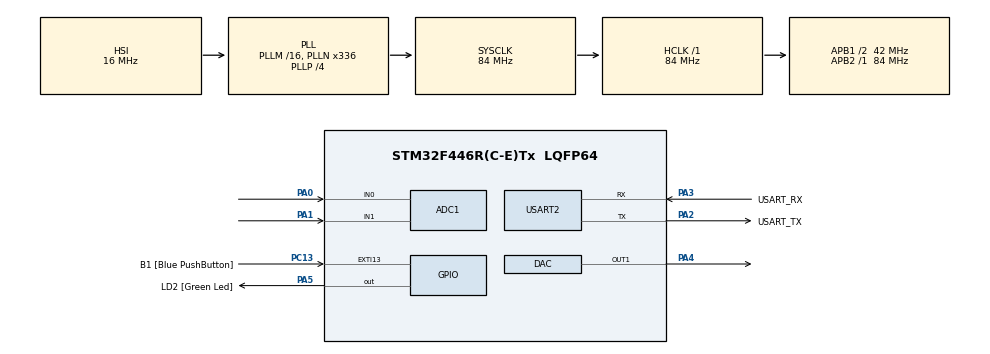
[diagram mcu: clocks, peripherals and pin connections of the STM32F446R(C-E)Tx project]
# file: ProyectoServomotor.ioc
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ADC1.Channel-0\#ChannelRegularConversion=ADC_CHANNEL_0
ADC1.ExternalTrigConv=ADC_EXTERNALTRIGCONV_T2_TRGO
ADC1.NbrOfConversionFlag=1
ADC1.Rank-0\#ChannelRegularConversion=1
ADC1.SamplingTime-0\#ChannelRegularConversion=ADC_SAMPLETIME_3CYCLES
ADC1.master=1
Dma.ADC1.0.Direction=DMA_PERIPH_TO_MEMORY
Dma.ADC1.0.FIFOMode=DMA_FIFOMODE_DISABLE
Dma.ADC1.0.Instance=DMA2_Stream0
Dma.ADC1.0.MemDataAlignment=DMA_MDATAALIGN_HALFWORD
Dma.ADC1.0.MemInc=DMA_MINC_ENABLE
Dma.ADC1.0.Mode=DMA_CIRCULAR
Dma.ADC1.0.PeriphDataAlignment=DMA_PDATAALIGN_HALFWORD
Dma.ADC1.0.PeriphInc=DMA_PINC_DISABLE
Dma.ADC1.0.Priority=DMA_PRIORITY_LOW
Dma.Request0=ADC1
Dma.Request1=USART2_TX
Dma.USART2_TX.1.Direction=DMA_MEMORY_TO_PERIPH
Dma.USART2_TX.1.FIFOMode=DMA_FIFOMODE_DISABLE
Dma.USART2_TX.1.Instance=DMA1_Stream6
Dma.USART2_TX.1.MemDataAlignment=DMA_MDATAALIGN_BYTE
Dma.USART2_TX.1.MemInc=DMA_MINC_ENABLE
Dma.USART2_TX.1.Mode=DMA_NORMAL
Dma.USART2_TX.1.PeriphDataAlignment=DMA_PDATAALIGN_BYTE
Dma.USART2_TX.1.PeriphInc=DMA_PINC_DISABLE
Dma.USART2_TX.1.Priority=DMA_PRIORITY_LOW
Mcu.Family=STM32F4
Mcu.Name=STM32F446R(C-E)Tx
Mcu.Package=LQFP64
NVIC.DMA1_Stream6_IRQn=true\:0\:0\:false\:false\:true\:false\:true\:true
NVIC.DMA2_Stream0_IRQn=true\:0\:0\:false\:false\:true\:false\:true\:true
NVIC.PriorityGroup=NVIC_PRIORITYGROUP_0
PA0-WKUP.Signal=ADCx_IN0
PA1.Signal=ADCx_IN1
PA13.GPIO_Label=TMS
PA13.Mode=Serial_Wire
PA13.Signal=SYS_JTMS-SWDIO
PA14.GPIO_Label=TCK
PA14.Mode=Serial_Wire
PA14.Signal=SYS_JTCK-SWCLK
PA2.GPIO_Label=USART_TX
PA2.Mode=Asynchronous
PA2.Signal=USART2_TX
PA3.GPIO_Label=USART_RX
PA3.Mode=Asynchronous
PA3.Signal=USART2_RX
PA4.Signal=COMP_DAC1_group
PA5.GPIO_Label=LD2 [Green Led]
PA5.Signal=GPIO_Output
PB3.GPIO_Label=SWO
PB3.Signal=SYS_JTDO-SWO
PC13.GPIO_Label=B1 [Blue PushButton]
PC13.GPIO_ModeDefaultEXTI=GPIO_MODE_IT_FALLING
PC13.Signal=GPXTI13
PC14-OSC32_IN.Mode=LSE-External-Oscillator
PC14-OSC32_IN.Signal=RCC_OSC32_IN
PC15-OSC32_OUT.Mode=LSE-External-Oscillator
PC15-OSC32_OUT.Signal=RCC_OSC32_OUT
PH0-OSC_IN.Mode=HSE-External-Oscillator
PH0-OSC_IN.Signal=RCC_OSC_IN
PH1-OSC_OUT.Mode=HSE-External-Oscillator
PH1-OSC_OUT.Signal=RCC_OSC_OUT
ProjectManager.HeapSize=0x200
ProjectManager.StackSize=0x400
ProjectManager.TargetToolchain=STM32CubeIDE
RCC.48MHZClocksFreq_Value=84000000
RCC.AHBFreq_Value=84000000
RCC.APB1CLKDivider=RCC_HCLK_DIV2
RCC.APB1Freq_Value=42000000
RCC.APB1TimFreq_Value=84000000
RCC.APB2Freq_Value=84000000
RCC.APB2TimFreq_Value=84000000
RCC.CortexFreq_Value=84000000
RCC.FLatency-AdvancedSettings=FLASH_LATENCY_2
RCC.HCLKFreq_Value=84000000
RCC.HSE_VALUE=8000000
RCC.HSI_VALUE=16000000
RCC.PLLN=336
RCC.PLLP=RCC_PLLP_DIV4
RCC.SYSCLKFreq_VALUE=84000000
RCC.SYSCLKSource=RCC_SYSCLKSOURCE_PLLCLK
RCC.USBFreq_Value=168000000
RCC.VCOOutputFreq_Value=336000000
SH.ADCx_IN0.0=ADC1_IN0,IN0
SH.ADCx_IN1.0=ADC1_IN1,IN1
SH.COMP_DAC1_group.0=DAC_OUT1,DAC_OUT1
TIM2.TIM_MasterOutputTrigger=TIM_TRGO_UPDATE
USART2.VirtualMode=VM_ASYNC
VP_TIM2_VS_ClockSourceINT.Mode=Internal
board=NUCLEO-F446RE

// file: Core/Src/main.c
/* USER CODE BEGIN Header */
/**
  ******************************************************************************
  * @file           : main.c
  * @brief          : Main program body
  ******************************************************************************
  * @attention
  *
  * Copyright (c) 2026 STMicroelectronics.
  * All rights reserved.
  *
  * This software is licensed under terms that can be found in the LICENSE file
  * in the root directory of this software component.
  * If no LICENSE file comes with this software, it is provided AS-IS.
  *
  ******************************************************************************
  */
/* USER CODE END Header */
#include "main.h"
#include <string.h>

/* USER CODE BEGIN PTD */
// Estructura para registrar eventos de scheduling con marca de tiempo
typedef struct {
    uint32_t timestamp; // Marca de tiempo en ms (HAL_GetTick())
    uint8_t event_id;   // ID del evento (ej: 1=ADC, 2=UART_TX, 3=UART_RX)
} LogEntry_t;
/* USER CODE END PTD */

/* USER CODE BEGIN PD */
#define TELEMETRY_HEADER_1  0xAA
#define TELEMETRY_HEADER_2  0x55

// Tamaños máximos para el historial de scheduling
#define LOG_BUFFER_SIZE     20
/* USER CODE END PD */

ADC_HandleTypeDef hadc1;
DMA_HandleTypeDef hdma_adc1;

DAC_HandleTypeDef hdac;

TIM_HandleTypeDef htim2;

UART_HandleTypeDef huart2;
DMA_HandleTypeDef hdma_usart2_tx;

/* USER CODE BEGIN PV */

// Buffer DMA para los 2 canales del ADC:
// adc_buffer[0] -> Canal 0 (Sensor / Planta y_k)
// adc_buffer[1] -> Canal 1 (Referencia / Setpoint r_k)
uint16_t adc_buffer[2] = {0, 0};

volatile uint16_t dac_val = 0;

// Parámetros PID y Muestreo
float Ts = 0.001f; // 1 ms
float kP = 1.5f;
float kI = 0.05f;
float kD = 0.01f;

// Variables globales para la telemetría
volatile float g_e_k = 0.0f;
volatile float g_E_k = 0.0f;
volatile float g_eD  = 0.0f;

// Flags de telemetría
uint8_t flag_send_signals    = 1;
uint8_t flag_send_pid_params = 1;
uint8_t flag_send_scheduling = 1;

// Log de scheduling
LogEntry_t log_buffer[LOG_BUFFER_SIZE];
volatile uint8_t log_index = 0;

// Flag para saber si el DMA del UART está libre para transmitir
volatile uint8_t uart_tx_ready = 1;

/* USER CODE END PV */

void SystemClock_Config(void);
static void MX_GPIO_Init(void);
static void MX_DMA_Init(void);
static void MX_ADC1_Init(void);
static void MX_DAC_Init(void);
static void MX_TIM2_Init(void);
static void MX_USART2_UART_Init(void);
/* USER CODE BEGIN PFP */
void TIM2_SetPeriod(float Ts);
uint16_t PID_Compute(uint16_t sensor_val, uint16_t ref_val, float kP, float kI, float kD, float Ts);
uint8_t Calculate_CRC8(const uint8_t *data, uint16_t length);
void Log_Event(uint8_t event_id);
/* USER CODE END PFP */

/* USER CODE BEGIN 0 */
/**
 * @brief Configura el período de TIM2 para definir el tiempo de muestreo.
 * @param Ts Período objetivo en segundos (ej. 0.001f para 1 ms / 1 kHz)
 */
void TIM2_SetPeriod(float Ts)
{
    // Frecuencia de reloj del Timer 2 en APB1 (asumiendo ~84 MHz según SystemClock_Config)
    uint32_t timer_clk = HAL_RCC_GetPCLK1Freq();
    if ((RCC->CFGR & RCC_CFGR_PPRE1) != RCC_CFGR_PPRE1_DIV1) {
        timer_clk *= 2; // Si el prescalador APB1 != 1, la frecuencia del Timer es 2x PCLK1
    }

    // Obtener prescalador actual
    uint32_t prescaler = htim2.Instance->PSC;

    // Calcular el valor del registro ARR (Period): ARR = (f_clk * Ts) / (PSC + 1) - 1
    uint32_t arr_value = (uint32_t)((float)timer_clk * Ts / (float)(prescaler + 1)) - 1;

    // Actualizar el registro Auto-Reload de TIM2
    __HAL_TIM_SET_AUTORELOAD(&htim2, arr_value);
}

/**
 * @brief Calcula la salida del PID digital dada la medición del sensor y la referencia.
 * @param sensor_val Valor leído por el ADC (0 - 4095)
 * @param ref_val Valor de referencia o Setpoint (0 - 4095)
 * @param kP Ganancia Proporcional
 * @param kI Ganancia Integral
 * @param kD Ganancia Derivativa
 * @param Ts Período de muestreo en segundos
 * @retval Valor a escribir en el DAC (uint16_t, rango 0 - 4095)
 */
uint16_t PID_Compute(uint16_t sensor_val, uint16_t ref_val, float kP, float kI, float kD, float Ts)
{
    static float e_k_1 = 0.0f;
    static float E_k_1 = 0.0f;

    float r_k = (float)ref_val;
    float y_k = (float)sensor_val;

    float e_k = r_k - y_k;
    float E_k = E_k_1 + e_k;
    float eD  = e_k - e_k_1;

    // Guardar variables globales para la telemetría
    g_e_k = e_k;
    g_E_k = E_k;
    g_eD  = eD;

    float u_k = (kP * e_k) + ((kI / Ts) * E_k) + ((kD / Ts) * eD);

    e_k_1 = e_k;
    E_k_1 = E_k;

    if (u_k > 4095.0f) {
        u_k = 4095.0f;
    } else if (u_k < 0.0f) {
        u_k = 0.0f;
    }

    return (uint16_t)u_k;
}

/**
 * @brief Calcula el CRC-8 de un buffer de datos (Polinomio 0x07 / ATM-8)
 */
uint8_t Calculate_CRC8(const uint8_t *data, uint16_t length)
{
    uint8_t crc = 0x00;
    for (uint16_t i = 0; i < length; i++) {
        crc ^= data[i];
        for (uint8_t j = 0; j < 8; j++) {
            if (crc & 0x80) {
                crc = (crc << 1) ^ 0x07;
            } else {
                crc <<= 1;
            }
        }
    }
    return crc;
}

/**
 * @brief Agrega un evento al buffer circular de marcas de tiempo
 */
void Log_Event(uint8_t event_id)
{
    log_buffer[log_index].timestamp = HAL_GetTick();
    log_buffer[log_index].event_id  = event_id;
    log_index = (log_index + 1) % LOG_BUFFER_SIZE;
}
/* USER CODE END 0 */

int main(void)
{

  /* MCU Configuration--------------------------------------------------------*/

  /* Reset of all peripherals, Initializes the Flash interface and the Systick. */
  HAL_Init();

  /* Configure the system clock */
  SystemClock_Config();

  /* Initialize all configured peripherals */
  MX_GPIO_Init();
  MX_DMA_Init();
  MX_ADC1_Init();
  MX_DAC_Init();
  MX_TIM2_Init();
  MX_USART2_UART_Init();
  /* USER CODE BEGIN 2 */
  // 1. Ajustar el período de muestreo en TIM2
  TIM2_SetPeriod(Ts);

  // 2. Encender el módulo DAC
  HAL_DAC_Start(&hdac, DAC_CHANNEL_1);

  // 3. Iniciar el escaneo continuo de 2 canales del ADC con DMA
  HAL_ADC_Start_DMA(&hadc1, (uint32_t*)adc_buffer, 2);

  // 4. Iniciar TIM2 para activar las conversiones periódicas
  HAL_TIM_Base_Start(&htim2);
  /* USER CODE END 2 */

  	/* Infinite loop */
	while (1)
	{

	  /* USER CODE BEGIN 3 */
	  // Transmitir solo si el canal DMA del UART está libre
	  if (uart_tx_ready)
	  {
		  static uint8_t tx_buffer[256];
		  uint16_t tx_idx = 0;

		  // --- Header ---
		  tx_buffer[tx_idx++] = TELEMETRY_HEADER_1;
		  tx_buffer[tx_idx++] = TELEMETRY_HEADER_2;

		  // --- BLOQUE 1: Señales Mínimas ---
		  if (flag_send_signals)
		  {
			  uint16_t ref_val    = adc_buffer[1];
			  uint16_t sensor_val = adc_buffer[0];
			  uint16_t u_k_val    = dac_val;

			  memcpy(&tx_buffer[tx_idx], &ref_val, sizeof(ref_val));
			  tx_idx += sizeof(ref_val);

			  memcpy(&tx_buffer[tx_idx], &sensor_val, sizeof(sensor_val));
			  tx_idx += sizeof(sensor_val);

			  memcpy(&tx_buffer[tx_idx], &u_k_val, sizeof(u_k_val));
			  tx_idx += sizeof(u_k_val);

			  float e_k_tmp = g_e_k;
			  float E_k_tmp = g_E_k;
			  float eD_tmp  = g_eD;

			  memcpy(&tx_buffer[tx_idx], &e_k_tmp, sizeof(float));
			  tx_idx += sizeof(float);

			  memcpy(&tx_buffer[tx_idx], &E_k_tmp, sizeof(float));
			  tx_idx += sizeof(float);

			  memcpy(&tx_buffer[tx_idx], &eD_tmp, sizeof(float));
			  tx_idx += sizeof(float);
		  }

		  // --- BLOQUE 2: Parámetros PID ---
		  if (flag_send_pid_params)
		  {
			  memcpy(&tx_buffer[tx_idx], &kP, sizeof(float));
			  tx_idx += sizeof(float);

			  memcpy(&tx_buffer[tx_idx], &kI, sizeof(float));
			  tx_idx += sizeof(float);

			  memcpy(&tx_buffer[tx_idx], &kD, sizeof(float));
			  tx_idx += sizeof(float);

			  memcpy(&tx_buffer[tx_idx], &Ts, sizeof(float));
			  tx_idx += sizeof(float);
		  }

		  // --- BLOQUE 3: Scheduling ---
		  if (flag_send_scheduling)
		  {
			  Log_Event(2); // Evento 2: Inicio transmisión UART DMA

			  uint8_t count = LOG_BUFFER_SIZE;
			  tx_buffer[tx_idx++] = count;

			  for (uint8_t i = 0; i < count; i++) {
				  memcpy(&tx_buffer[tx_idx], &log_buffer[i].timestamp, sizeof(uint32_t));
				  tx_idx += sizeof(uint32_t);

				  tx_buffer[tx_idx++] = log_buffer[i].event_id;
			  }
		  }

		  // --- Pie y CRC8 ---
		  uint8_t crc8 = Calculate_CRC8(tx_buffer, tx_idx);
		  tx_buffer[tx_idx++] = crc8;

		  // Disparo no bloqueante vía DMA (libera la CPU inmediatamente)
		  uart_tx_ready = 0;
		  HAL_UART_Transmit_DMA(&huart2, tx_buffer, tx_idx);
	  }

	  // Cadencia del ciclo principal de telemetría (ej. 50 ms)
	  HAL_Delay(50);
	}
	/* USER CODE END 3 */
}

void SystemClock_Config(void)
{
  RCC_OscInitTypeDef RCC_OscInitStruct = {0};
  RCC_ClkInitTypeDef RCC_ClkInitStruct = {0};

  /** Configure the main internal regulator output voltage
  */
  __HAL_RCC_PWR_CLK_ENABLE();
  __HAL_PWR_VOLTAGESCALING_CONFIG(PWR_REGULATOR_VOLTAGE_SCALE3);

  /** Initializes the RCC Oscillators according to the specified parameters
  * in the RCC_OscInitTypeDef structure.
  */
  RCC_OscInitStruct.OscillatorType = RCC_OSCILLATORTYPE_HSI;
  RCC_OscInitStruct.HSIState = RCC_HSI_ON;
  RCC_OscInitStruct.HSICalibrationValue = RCC_HSICALIBRATION_DEFAULT;
  RCC_OscInitStruct.PLL.PLLState = RCC_PLL_ON;
  RCC_OscInitStruct.PLL.PLLSource = RCC_PLLSOURCE_HSI;
  RCC_OscInitStruct.PLL.PLLM = 16;
  RCC_OscInitStruct.PLL.PLLN = 336;
  RCC_OscInitStruct.PLL.PLLP = RCC_PLLP_DIV4;
  RCC_OscInitStruct.PLL.PLLQ = 2;
  RCC_OscInitStruct.PLL.PLLR = 2;
  if (HAL_RCC_OscConfig(&RCC_OscInitStruct) != HAL_OK)
  {
    Error_Handler();
  }

  /** Initializes the CPU, AHB and APB buses clocks
  */
  RCC_ClkInitStruct.ClockType = RCC_CLOCKTYPE_HCLK|RCC_CLOCKTYPE_SYSCLK
                              |RCC_CLOCKTYPE_PCLK1|RCC_CLOCKTYPE_PCLK2;
  RCC_ClkInitStruct.SYSCLKSource = RCC_SYSCLKSOURCE_PLLCLK;
  RCC_ClkInitStruct.AHBCLKDivider = RCC_SYSCLK_DIV1;
  RCC_ClkInitStruct.APB1CLKDivider = RCC_HCLK_DIV2;
  RCC_ClkInitStruct.APB2CLKDivider = RCC_HCLK_DIV1;

  if (HAL_RCC_ClockConfig(&RCC_ClkInitStruct, FLASH_LATENCY_2) != HAL_OK)
  {
    Error_Handler();
  }
}

static void MX_ADC1_Init(void)
{

  ADC_ChannelConfTypeDef sConfig = {0};

  /** Configure the global features of the ADC (Clock, Resolution, Data Alignment and number of conversion)
  */
  hadc1.Instance = ADC1;
  hadc1.Init.ClockPrescaler = ADC_CLOCK_SYNC_PCLK_DIV4;
  hadc1.Init.Resolution = ADC_RESOLUTION_12B;
  hadc1.Init.ScanConvMode = DISABLE;
  hadc1.Init.ContinuousConvMode = DISABLE;
  hadc1.Init.DiscontinuousConvMode = DISABLE;
  hadc1.Init.ExternalTrigConvEdge = ADC_EXTERNALTRIGCONVEDGE_RISING;
  hadc1.Init.ExternalTrigConv = ADC_EXTERNALTRIGCONV_T2_TRGO;
  hadc1.Init.DataAlign = ADC_DATAALIGN_RIGHT;
  hadc1.Init.NbrOfConversion = 1;
  hadc1.Init.DMAContinuousRequests = DISABLE;
  hadc1.Init.EOCSelection = ADC_EOC_SINGLE_CONV;
  if (HAL_ADC_Init(&hadc1) != HAL_OK)
  {
    Error_Handler();
  }

  /** Configure for the selected ADC regular channel its corresponding rank in the sequencer and its sample time.
  */
  sConfig.Channel = ADC_CHANNEL_0;
  sConfig.Rank = 1;
  sConfig.SamplingTime = ADC_SAMPLETIME_3CYCLES;
  if (HAL_ADC_ConfigChannel(&hadc1, &sConfig) != HAL_OK)
  {
    Error_Handler();
  }

}

static void MX_DAC_Init(void)
{

  DAC_ChannelConfTypeDef sConfig = {0};

  /** DAC Initialization
  */
  hdac.Instance = DAC;
  if (HAL_DAC_Init(&hdac) != HAL_OK)
  {
    Error_Handler();
  }

  /** DAC channel OUT1 config
  */
  sConfig.DAC_Trigger = DAC_TRIGGER_NONE;
  sConfig.DAC_OutputBuffer = DAC_OUTPUTBUFFER_ENABLE;
  if (HAL_DAC_ConfigChannel(&hdac, &sConfig, DAC_CHANNEL_1) != HAL_OK)
  {
    Error_Handler();
  }

}

static void MX_TIM2_Init(void)
{

  TIM_ClockConfigTypeDef sClockSourceConfig = {0};
  TIM_MasterConfigTypeDef sMasterConfig = {0};

  htim2.Instance = TIM2;
  htim2.Init.Prescaler = 0;
  htim2.Init.CounterMode = TIM_COUNTERMODE_UP;
  htim2.Init.Period = 4294967295;
  htim2.Init.ClockDivision = TIM_CLOCKDIVISION_DIV1;
  htim2.Init.AutoReloadPreload = TIM_AUTORELOAD_PRELOAD_DISABLE;
  if (HAL_TIM_Base_Init(&htim2) != HAL_OK)
  {
    Error_Handler();
  }
  sClockSourceConfig.ClockSource = TIM_CLOCKSOURCE_INTERNAL;
  if (HAL_TIM_ConfigClockSource(&htim2, &sClockSourceConfig) != HAL_OK)
  {
    Error_Handler();
  }
  sMasterConfig.MasterOutputTrigger = TIM_TRGO_UPDATE;
  sMasterConfig.MasterSlaveMode = TIM_MASTERSLAVEMODE_DISABLE;
  if (HAL_TIMEx_MasterConfigSynchronization(&htim2, &sMasterConfig) != HAL_OK)
  {
    Error_Handler();
  }

}

static void MX_USART2_UART_Init(void)
{

  huart2.Instance = USART2;
  huart2.Init.BaudRate = 115200;
  huart2.Init.WordLength = UART_WORDLENGTH_8B;
  huart2.Init.StopBits = UART_STOPBITS_1;
  huart2.Init.Parity = UART_PARITY_NONE;
  huart2.Init.Mode = UART_MODE_TX_RX;
  huart2.Init.HwFlowCtl = UART_HWCONTROL_NONE;
  huart2.Init.OverSampling = UART_OVERSAMPLING_16;
  if (HAL_UART_Init(&huart2) != HAL_OK)
  {
    Error_Handler();
  }

}

static void MX_DMA_Init(void)
{

  /* DMA controller clock enable */
  __HAL_RCC_DMA2_CLK_ENABLE();
  __HAL_RCC_DMA1_CLK_ENABLE();

  /* DMA interrupt init */
  /* DMA1_Stream6_IRQn interrupt configuration */
  HAL_NVIC_SetPriority(DMA1_Stream6_IRQn, 0, 0);
  HAL_NVIC_EnableIRQ(DMA1_Stream6_IRQn);
  /* DMA2_Stream0_IRQn interrupt configuration */
  HAL_NVIC_SetPriority(DMA2_Stream0_IRQn, 0, 0);
  HAL_NVIC_EnableIRQ(DMA2_Stream0_IRQn);

}

static void MX_GPIO_Init(void)
{
  GPIO_InitTypeDef GPIO_InitStruct = {0};

  /* GPIO Ports Clock Enable */
  __HAL_RCC_GPIOC_CLK_ENABLE();
  __HAL_RCC_GPIOH_CLK_ENABLE();
  __HAL_RCC_GPIOA_CLK_ENABLE();
  __HAL_RCC_GPIOB_CLK_ENABLE();

  /*Configure GPIO pin Output Level */
  HAL_GPIO_WritePin(LD2_GPIO_Port, LD2_Pin, GPIO_PIN_RESET);

  /*Configure GPIO pin : B1_Pin */
  GPIO_InitStruct.Pin = B1_Pin;
  GPIO_InitStruct.Mode = GPIO_MODE_IT_FALLING;
  GPIO_InitStruct.Pull = GPIO_NOPULL;
  HAL_GPIO_Init(B1_GPIO_Port, &GPIO_InitStruct);

  /*Configure GPIO pin : LD2_Pin */
  GPIO_InitStruct.Pin = LD2_Pin;
  GPIO_InitStruct.Mode = GPIO_MODE_OUTPUT_PP;
  GPIO_InitStruct.Pull = GPIO_NOPULL;
  GPIO_InitStruct.Speed = GPIO_SPEED_FREQ_LOW;
  HAL_GPIO_Init(LD2_GPIO_Port, &GPIO_InitStruct);

}

/* USER CODE BEGIN 4 */
void HAL_ADC_ConvCpltCallback(ADC_HandleTypeDef *hadc)
{
    if (hadc->Instance == ADC1)
    {
        Log_Event(1); // Registrar inicio del proceso de control PID

        // 1. Extraer lecturas del buffer DMA
        uint16_t sensor_val = adc_buffer[0]; // Canal 0
        uint16_t ref_val    = adc_buffer[1]; // Canal 1

        // 2. Ejecutar PID
        dac_val = PID_Compute(sensor_val, ref_val, kP, kI, kD, Ts);

        // 3. Escribir resultado en el DAC
        HAL_DAC_SetValue(&hdac, DAC_CHANNEL_1, DAC_ALIGN_12B_R, dac_val);
    }
}

// Callback cuando el DMA termina de transmitir la telemetría por UART
void HAL_UART_TxCpltCallback(UART_HandleTypeDef *huart)
{
    if (huart->Instance == USART2)
    {
        Log_Event(3); // Evento 3: Fin de transmisión UART vía DMA
        uart_tx_ready = 1; // Marcar UART libre para el siguiente envío
    }
}
/* USER CODE END 4 */

void Error_Handler(void)
{
  __disable_irq();
  while (1)
  {
  }
}
